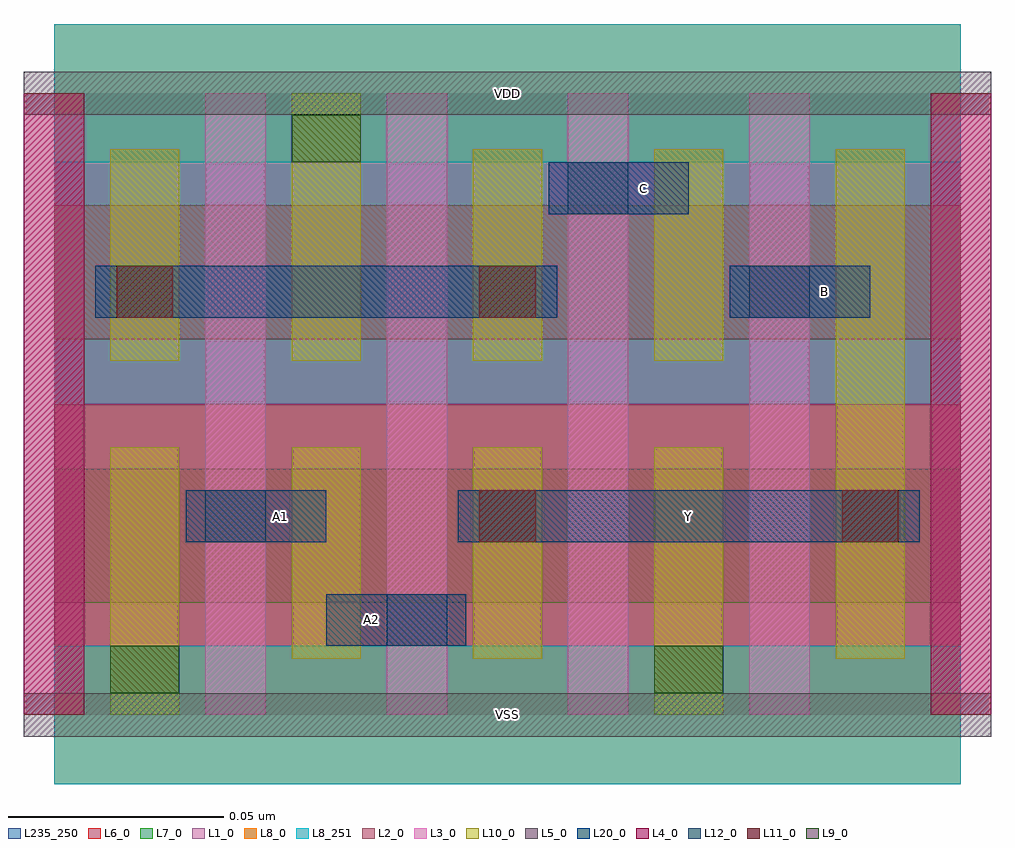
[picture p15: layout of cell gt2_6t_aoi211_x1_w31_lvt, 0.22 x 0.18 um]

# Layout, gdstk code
import gdstk
lib = gdstk.Library(unit=1e-6, precision=5e-10)
def R(c, l, rs):  # rectangles x0, y0, x1, y1
    for r in rs: c.add(gdstk.rectangle(r[:2], r[2:], *l))
def A(c, l, x, y, w, h, nx, ny, dx, dy):  # array of equal rectangles
    R(c, l, [(x+i*dx, y+j*dy, x+i*dx+w, y+j*dy+h) for i in range(nx) for j in range(ny)])
L1_0 = (1, 0)
L2_0 = (2, 0)
L3_0 = (3, 0)
L4_0 = (4, 0)
L5_0 = (5, 0)
L6_0 = (6, 0)
L7_0 = (7, 0)
L8_0 = (8, 0)
L8_251 = (8, 251)
L9_0 = (9, 0)
L10_0 = (10, 0)
L11_0 = (11, 0)
L12_0 = (12, 0)
L20_0 = (20, 0)
L235_250 = (235, 250)

gt2_6t_aoi211_x1_w31_lvt = lib.new_cell('gt2_6t_aoi211_x1_w31_lvt')
R(gt2_6t_aoi211_x1_w31_lvt, L1_0, [(0,0.072,0.21,0.144)])
R(gt2_6t_aoi211_x1_w31_lvt, L2_0, [(0,0.026,0.21,0.057), (0,0.087,0.21,0.118)])
A(gt2_6t_aoi211_x1_w31_lvt, L3_0, -0.007, 0, 0.014, 0.144, 6, 1, 0.042, 0)
R(gt2_6t_aoi211_x1_w31_lvt, L4_0, [(-0.007,0,0.007,0.144), (0.203,0,0.217,0.144)])
R(gt2_6t_aoi211_x1_w31_lvt, L5_0, [(-0.007,-0.005,0.217,0.005), (-0.007,0.139,0.217,0.149)])
R(gt2_6t_aoi211_x1_w31_lvt, L6_0, [(0,0,0.21,0.072)])
R(gt2_6t_aoi211_x1_w31_lvt, L7_0, [(0,0.072,0.21,0.144)])
R(gt2_6t_aoi211_x1_w31_lvt, L8_0, [(0,-0.016,0.21,0.016), (0,0.128,0.21,0.16)])
R(gt2_6t_aoi211_x1_w31_lvt, L8_251, [(0,-0.016,0.21,0.016), (0,0.128,0.21,0.16)])
R(gt2_6t_aoi211_x1_w31_lvt, L9_0, [(0.013,0.005,0.029,0.016), (0.139,0.005,0.155,0.016), (0.055,0.128,0.071,0.139)])
R(gt2_6t_aoi211_x1_w31_lvt, L10_0, [(0.013,0,0.029,0.062), (0.139,0,0.155,0.062), (0.055,0.013,0.071,0.062), (0.097,0.013,0.113,0.062), (0.181,0.013,0.197,0.131), (0.013,0.082,0.029,0.131), (0.055,0.082,0.071,0.144), (0.097,0.082,0.113,0.131), (0.139,0.082,0.155,0.131)])
R(gt2_6t_aoi211_x1_w31_lvt, L11_0, [(0.0985,0.04,0.1115,0.052), (0.1825,0.04,0.1955,0.052), (0.0145,0.092,0.0275,0.104), (0.0985,0.092,0.1115,0.104)])
R(gt2_6t_aoi211_x1_w31_lvt, L12_0, [(0.077,0.016,0.091,0.028), (0.035,0.04,0.049,0.052), (0.161,0.092,0.175,0.104), (0.119,0.116,0.133,0.128)])
R(gt2_6t_aoi211_x1_w31_lvt, L20_0, [(0.063,0.016,0.0955,0.028), (0.0305,0.04,0.063,0.052), (0.0935,0.04,0.2005,0.052), (0.0095,0.092,0.1165,0.104), (0.1565,0.092,0.189,0.104), (0.1145,0.116,0.147,0.128)])
R(gt2_6t_aoi211_x1_w31_lvt, L235_250, [(0,0,0.21,0.144)])
gt2_6t_aoi211_x1_w31_lvt.add(gdstk.Label('VSS', (0.105,0), layer=8, texttype=251))
gt2_6t_aoi211_x1_w31_lvt.add(gdstk.Label('VDD', (0.105,0.144), layer=8, texttype=251))
gt2_6t_aoi211_x1_w31_lvt.add(gdstk.Label('B', (0.1785,0.098), layer=20, texttype=251))
gt2_6t_aoi211_x1_w31_lvt.add(gdstk.Label('C', (0.1365,0.122), layer=20, texttype=251))
gt2_6t_aoi211_x1_w31_lvt.add(gdstk.Label('A1', (0.0525,0.046), layer=20, texttype=251))
gt2_6t_aoi211_x1_w31_lvt.add(gdstk.Label('Y', (0.147,0.046), layer=20, texttype=251))
gt2_6t_aoi211_x1_w31_lvt.add(gdstk.Label('A2', (0.0735,0.022), layer=20, texttype=251))

lib.write_gds('gt2_6t_aoi211_x1_w31_lvt.gds')
